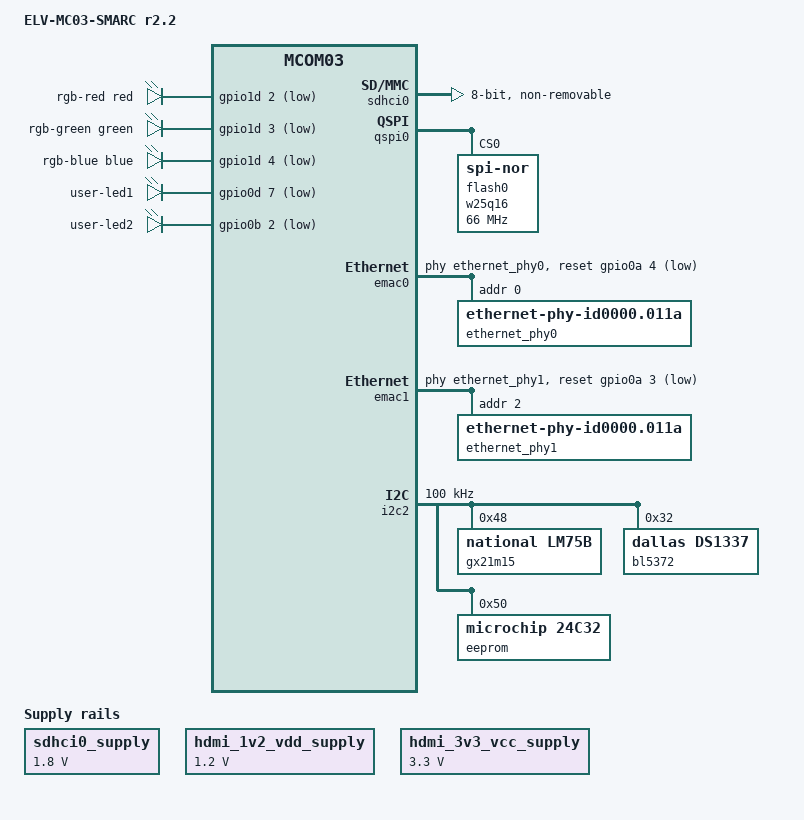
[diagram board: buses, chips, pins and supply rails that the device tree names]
// SPDX-License-Identifier: GPL-2.0+
/*
 * Copyright 2023 RnD Center "ELVEES", JSC
 */

/dts-v1/;

#include <dt-bindings/leds/common.h>

#include "mcom03.dtsi"

/ {
	model = "ELV-MC03-SMARC r2.2";
	compatible = "elvees,elvmc03smarc-r2.2",
		     "elvees,elvmc03smarc",
		     "elvees,mcom03";

	elvmc03smarc-leds {
		compatible = "gpio-leds";

		rgb-red {
			gpios = <&gpio1d 2 GPIO_ACTIVE_LOW>;
			color = <LED_COLOR_ID_RED>;
			default-state = "off";
		};

		rgb-green {
			gpios = <&gpio1d 3 GPIO_ACTIVE_LOW>;
			color = <LED_COLOR_ID_GREEN>;
			default-state = "off";
		};

		rgb-blue {
			gpios = <&gpio1d 4 GPIO_ACTIVE_LOW>;
			color = <LED_COLOR_ID_BLUE>;
			default-state = "off";
		};

		user-led1 {
			gpios = <&gpio0d 7 GPIO_ACTIVE_LOW>;
			default-state = "on";
			linux,default-trigger = "heartbeat";
		};

		user-led2 {
			gpios = <&gpio0b 2 GPIO_ACTIVE_LOW>;
			default-state = "off";
		};
	};

	sdhci0_supply: regulator@0 {
		compatible = "regulator-fixed";
		regulator-name = "sdhci0-supply";
		regulator-min-microvolt = <1800000>;
		regulator-max-microvolt = <1800000>;
		regulator-always-on;
	};

	hdmi_1v2_vdd_supply: regulator@01 {
		compatible = "regulator-fixed";
		regulator-name = "hdmi-vdd-1.2v";
		regulator-min-microvolt = <1200000>;
		regulator-max-microvolt = <1200000>;
		regulator-always-on;
	};

	hdmi_3v3_vcc_supply: regulator@02 {
		compatible = "regulator-fixed";
		regulator-name = "hdmi-vcc-3.3v";
		regulator-min-microvolt = <3300000>;
		regulator-max-microvolt = <3300000>;
		regulator-always-on;
	};

	hdmi_sound: hdmi-sound {
		compatible = "simple-audio-card";
		simple-audio-card,name = "ELV-MC03-SMARC HDMI Audio";
		simple-audio-card,format = "i2s";
		simple-audio-card,bitclock-master = <&dailink0_master>;
		simple-audio-card,frame-master = <&dailink0_master>;
		status = "disabled";

		dailink0_master: simple-audio-card,cpu {
			sound-dai = <&i2s0>;
		};

		simple-audio-card,codec {
			sound-dai = <&lt9611uxc>;
		};
	};
};

/* Serial port definitions for SMARC */
ser0: &uart3 { };
ser1: &uart0 { };
ser2: &uart2 { };
ser3: &uart1 { };

&sdhci0 {
	status = "okay";
	non-removable;
	bus-width = <8>;
	vqmmc-supply = <&sdhci0_supply>;
};

&qspi0 {
	status = "okay";

	flash0: w25q16@0 {
		#address-cells = <1>;
		#size-cells = <1>;
		compatible = "jedec,spi-nor", "spi-flash";
		reg = <0x0>;
		/* This is the highest frequency at which all commands are
		 * supported by the flash device.
		 */
		spi-max-frequency = <66000000>;
		m25p,fast-read;
	};
};

&emac0 {
	phy-handle = <&ethernet_phy0>;

	reset-gpios = <&gpio0a 4 GPIO_ACTIVE_LOW>;

	ethernet_phy0: ethernet-phy@0 {
		compatible = "ethernet-phy-id0000.011a", "ethernet-phy-ieee802.3-c22";
		reg = <0x0>;

		motorcomm,clk-out-frequency-hz = <0>;
		rx-internal-delay-ps = <1800>;
		tx-internal-delay-ps = <1200>;
	};
};

&emac1 {
	phy-handle = <&ethernet_phy1>;

	reset-gpios = <&gpio0a 3 GPIO_ACTIVE_LOW>;

	ethernet_phy1: ethernet-phy@2 {
		compatible = "ethernet-phy-id0000.011a", "ethernet-phy-ieee802.3-c22";
		reg = <0x2>;

		motorcomm,clk-out-frequency-hz = <0>;
		rx-internal-delay-ps = <1900>;
		tx-internal-delay-ps = <1650>;
	};
};

&de_dsi {
	status = "disabled";

	dsi-min-clock-frequency = <275000000>;

	ports {
		port@1 {
			reg = <1>;
			dsi_out: endpoint {
				remote-endpoint = <&lt9611_in_p0>;
			};
		};
	};
};

&media_ucg1 {
	assigned-clocks = <&media_ucg1 MEDIA_DISP_ACLK>,
			  <&media_ucg1 MEDIA_DISP_MCLK>;
	assigned-clock-rates = <594000000 297000000>;
};

&i2c2 {
	status = "okay";
	// not tested to work on 400k
	clock-frequency = <100000>;

	gx21m15: sensor@48 {
		compatible = "national,lm75b";
		reg = <0x48>;
	};

	bl5372: rtc@32 {
		compatible = "dallas,ds1337";
		reg = <0x32>;
	};

	eeprom@50 {
		compatible = "microchip,24c32", "atmel,24c32";
		reg = <0x50>;
	};

	lt9611uxc: hdmi-bridge@2b {
		status = "disabled";

		compatible = "lontium,lt9611uxc";
		reg = <0x2b>;

		vdd-supply = <&hdmi_1v2_vdd_supply>;
		vcc-supply = <&hdmi_3v3_vcc_supply>;
		#sound-dai-cells = <0>;

		reset-gpios = <&gpio0a 5 GPIO_ACTIVE_HIGH>;
		interrupts-extended = <&gpio1a 6 IRQ_TYPE_EDGE_FALLING>;

		pinctrl-0 = <&hdmi_int_default>;
		pinctrl-names = "default";

		ports {
			#address-cells = <1>;
			#size-cells = <0>;

			port@0 {
				reg = <0>;
				lt9611_in_p0: endpoint {
					remote-endpoint = <&dsi_out>;
				};
			};

			port@2 {
				reg = <2>;
				lt9611_out: endpoint {
					remote-endpoint = <&hdmi_connector_in>;
				};
			};
		};
	};
};

/* I2C definitions for SMARC*/
i2c_gp: &i2c1 { };
i2c_pm: &i2c0 { };

/*
 * GPIO expander is not available due to bug - MCOM03HW-1318.
 * Workarounds of this bug made on board has added functions to the following GPIO pins
 * on gpio0a and gpio1a:
 * * GPIO0_CAM0_PWR# + nRST_ETH1;
 * * GPIO1_CAM1_PWR# + nRST_ETH0;
 * * GPIO2_CAM0_RST# + nRST_HDMI;
 * * GPIO3_CAM1_RST# + INT_HDMI.
 */
&gpio0a {
	gpio-line-names = "", "nSMB_ALERT", "SER0_CTS", "GPIO0_CAM0_PWR#",
		"GPIO1_CAM1_PWR#", "GPIO2_CAM0_RST#", "INT_LVDS_1V8", "SER0_RTS";
};

&gpio0b {
	gpio-line-names = "SER0_RX", "SER0_TX", "nUSER_LED2", "WDT_TIME_OUT#",
		"PCIE_A_nRST", "SER3_RX", "SER3_TX", "SER2_RX";
};

&gpio0c {
	gpio-line-names = "SPI_SCK", "SPI_MOSI", "SPI_MISO", "",
		"SPI_CS0", "SPI_CS1", "LVDS_nRST", "SDR_h1v8-l1v5";
};

&gpio0d {
	gpio-line-names = "SER2_TX", "", "", "I2C_PM_CK",
		"I2C_PM_DAT", "", "", "nUSER_LED1";
};

&gpio1a {
	gpio-line-names = "I2C_GP_CK", "I2C_GP_DAT", "I2C2_SCL", "I2C2_SDA",
		"I2C3_SCL", "I2C3_SDA", "GPIO3_CAM1_RST#", "nINT_GPIOEXP";
};

&gpio1b {
	gpio-line-names = "HDMI_I2S_SCLK", "HDMI_I2S_LRCLK", "HDMI_I2S_D",
		"nSLEEP", "ESPI_RESET#", "USB_HUB_RST#", "SER1_TX", "SER1_RX";
};

&gpio1c {
	gpio-line-names = "GPIO12", "GPIO13", "nCHARGING", "nCHARGER_PRSNT",
		"nTEST", "CARRIER_STBY#", "FORCE_RECOV#", "SATA_PERST";
};

&gpio1d {
	gpio-line-names = "nBATLOW", "LCD0_BKLT_PWM", "nLED-R", "nLED-G",
		"nLED-B", "GPIO5_PWM_OUT", "LCD0_BKLT_EN", "LCD0_VDD_EN";
};

&lsperiph1_pinctrl {
	hdmi_int_default: gpioa1-hdmi-int-cfg {
		pins = "GPIOA_6";
		input-enable;
	};
};
